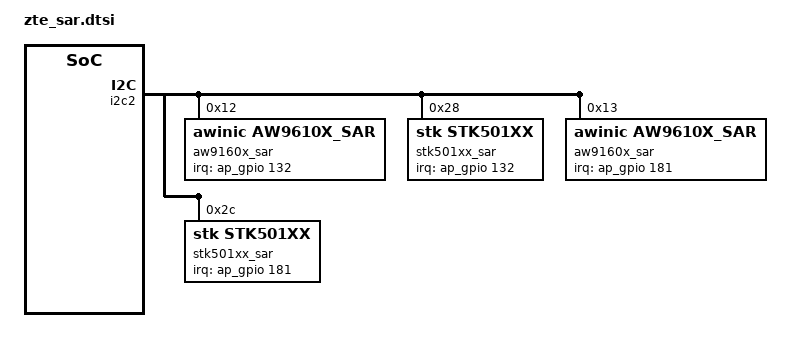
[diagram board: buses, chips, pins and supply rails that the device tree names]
&i2c2 {
	status = "okay";
	aw9160x_sar@12 {
		compatible = "awinic,aw9610x_sar";
		reg = <0x12>;
		sar-num = < 0 >;
		irq-gpio = <&ap_gpio 132 0>;
		chip_name = "AW96103";
		channel_use_flag = <0x1f>;
		status = "okay" ;
	};

	stk501xx_sar@28 {
		compatible = "stk,stk501xx";
		reg = <0x28>;

		stk501xx,irq-gpio = <&ap_gpio 132 0>;
		sar_num = < 0 >;
		chip_name = "STK50153";
		status = "okay" ;
	};
	aw9160x_sar@13 {
		compatible = "awinic,aw9610x_sar";
		reg = <0x13>;
		sar-num = < 1 >;
		irq-gpio = <&ap_gpio 181 0>;
		chip_name = "AW96103";
		channel_use_flag = <0x1f>;
		status = "okay" ;
	};

	stk501xx_sar@2c {
		compatible = "stk,stk501xx";
		reg = <0x2c>;

		stk501xx,irq-gpio = <&ap_gpio 181 0>;
		sar_num = < 1 >;
		chip_name = "STK50153";
		status = "okay" ;
	};
};
